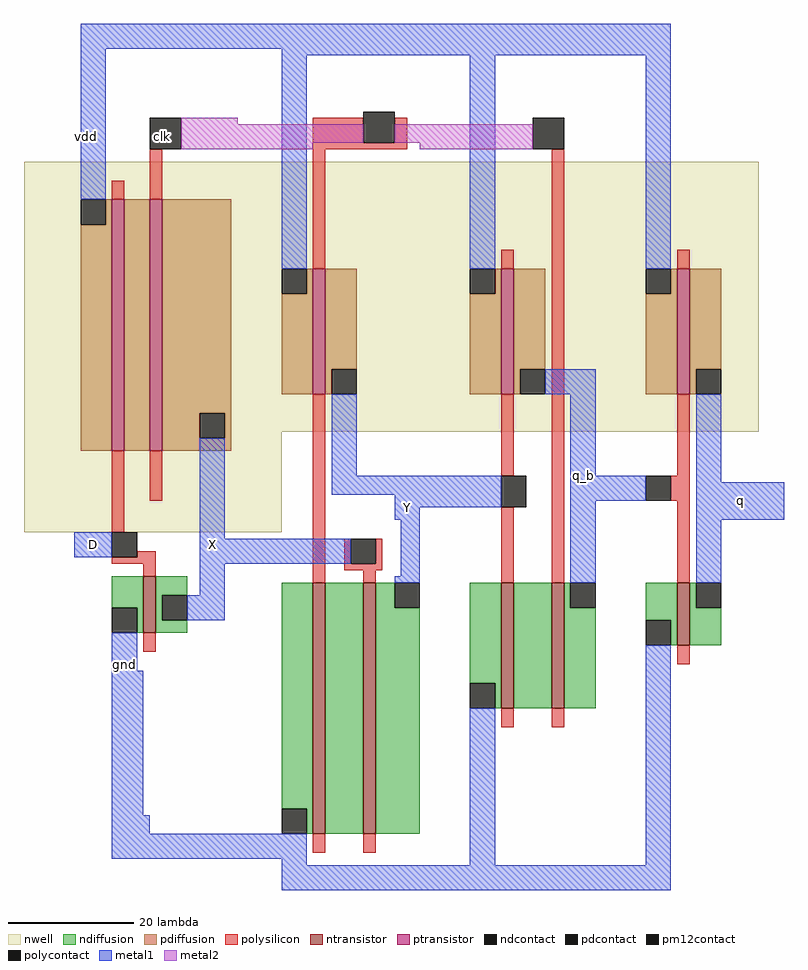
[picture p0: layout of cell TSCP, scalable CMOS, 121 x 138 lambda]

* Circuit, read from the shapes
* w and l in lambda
.subckt TSCP D X Y clk gnd q q_b vdd
M1 X D gnd VSUBS nfet w=9 l=2
M2 n1 clk gnd VSUBS nfet w=40 l=2
M3 Y X n1 VSUBS nfet w=40 l=2
M4 n2 Y gnd VSUBS nfet w=20 l=2
M5 q_b clk n2 VSUBS nfet w=20 l=2
M6 q q_b gnd VSUBS nfet w=10 l=2
M7 n3 D vdd n4 pfet w=40 l=2
M8 X clk n3 n4 pfet w=40 l=2
M9 Y clk vdd n4 pfet w=20 l=2
M10 q_b Y vdd n4 pfet w=20 l=2
M11 q q_b vdd n4 pfet w=20 l=2
.ends

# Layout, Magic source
magic
tech scmos
<< nwell >>
rect -24 27 93 70
rect -24 11 17 27
<< ntransistor >>
rect -5 -5 -3 4
rect 22 -37 24 3
rect 30 -37 32 3
rect 52 -17 54 3
rect 60 -17 62 3
rect 80 -7 82 3
<< ptransistor >>
rect -10 24 -8 64
rect -4 24 -2 64
rect 22 33 24 53
rect 52 33 54 53
rect 80 33 82 53
<< ndiffusion >>
rect -10 -1 -5 4
rect -6 -5 -5 -1
rect -3 1 2 4
rect -3 -3 -2 1
rect -3 -5 2 -3
rect 17 -33 22 3
rect 21 -37 22 -33
rect 24 -37 30 3
rect 32 -1 35 3
rect 32 -37 39 -1
rect 47 -13 52 3
rect 51 -17 52 -13
rect 54 -17 60 3
rect 62 -1 63 3
rect 62 -17 67 -1
rect 75 -3 80 3
rect 79 -7 80 -3
rect 82 -1 83 3
rect 82 -7 87 -1
<< pdiffusion >>
rect -11 60 -10 64
rect -15 24 -10 60
rect -8 24 -4 64
rect -2 30 9 64
rect 21 49 22 53
rect 17 33 22 49
rect 24 37 29 53
rect 24 33 25 37
rect 51 49 52 53
rect 47 33 52 49
rect 54 37 59 53
rect 54 33 55 37
rect -2 26 4 30
rect 8 26 9 30
rect -2 24 9 26
rect 79 49 80 53
rect 75 33 80 49
rect 82 37 87 53
rect 82 33 83 37
<< ndcontact >>
rect -10 -5 -6 -1
rect -2 -3 2 1
rect 17 -37 21 -33
rect 35 -1 39 3
rect 47 -17 51 -13
rect 63 -1 67 3
rect 75 -7 79 -3
rect 83 -1 87 3
<< pdcontact >>
rect -15 60 -11 64
rect 17 49 21 53
rect 25 33 29 37
rect 47 49 51 53
rect 55 33 59 37
rect 4 26 8 30
rect 75 49 79 53
rect 83 33 87 37
<< polysilicon >>
rect 22 73 30 77
rect 35 73 37 77
rect 22 72 37 73
rect -10 64 -8 67
rect -4 64 -2 72
rect 22 53 24 72
rect 52 53 54 56
rect -10 11 -8 24
rect -4 16 -2 24
rect -6 7 -3 8
rect -10 6 -3 7
rect -5 4 -3 6
rect 22 3 24 33
rect 52 20 54 33
rect 27 6 28 10
rect 32 6 33 10
rect 27 5 33 6
rect 30 3 32 5
rect 52 3 54 15
rect 60 3 62 72
rect 80 53 82 56
rect 80 20 82 33
rect 79 16 82 20
rect 80 3 82 16
rect -5 -8 -3 -5
rect 80 -10 82 -7
rect 52 -20 54 -17
rect 60 -20 62 -17
rect 22 -40 24 -37
rect 30 -40 32 -37
<< polycontact >>
rect -10 7 -6 11
rect 52 15 56 20
rect 28 6 32 10
rect 75 16 79 20
<< metal1 >>
rect -15 88 79 92
rect -15 64 -11 88
rect 17 87 79 88
rect 17 53 21 87
rect 47 53 51 87
rect 75 53 79 87
rect 59 33 67 37
rect -16 7 -10 11
rect 4 10 8 26
rect 25 20 29 33
rect 63 20 67 33
rect 25 17 52 20
rect 35 15 52 17
rect 63 16 75 20
rect 83 19 87 33
rect 35 13 39 15
rect 4 6 28 10
rect 4 1 8 6
rect 36 4 39 13
rect 2 -3 8 1
rect 35 3 39 4
rect 63 3 67 16
rect 83 13 97 19
rect 83 3 87 13
rect -10 -11 -6 -5
rect -10 -34 -5 -11
rect -10 -37 -4 -34
rect -10 -41 21 -37
rect 17 -42 21 -41
rect 47 -42 51 -17
rect 75 -42 79 -7
rect 17 -46 79 -42
<< pm12contact >>
rect -4 72 1 77
rect 30 73 35 78
rect 57 72 62 77
<< metal2 >>
rect 1 76 10 77
rect 1 73 30 76
rect 35 73 57 76
rect 1 72 22 73
rect 39 72 57 73
<< labels >>
rlabel metal1 -8 -10 -8 -10 2 gnd
rlabel metal1 -13 9 -13 9 1 D
rlabel metal1 6 9 6 9 1 X
rlabel metal1 37 15 37 15 7 Y
rlabel metal1 90 16 90 16 1 q
rlabel metal1 65 20 65 20 7 q_b
rlabel metal1 -14 74 -14 74 5 vdd
rlabel pm12contact -2 74 -2 74 1 clk
<< end >>
